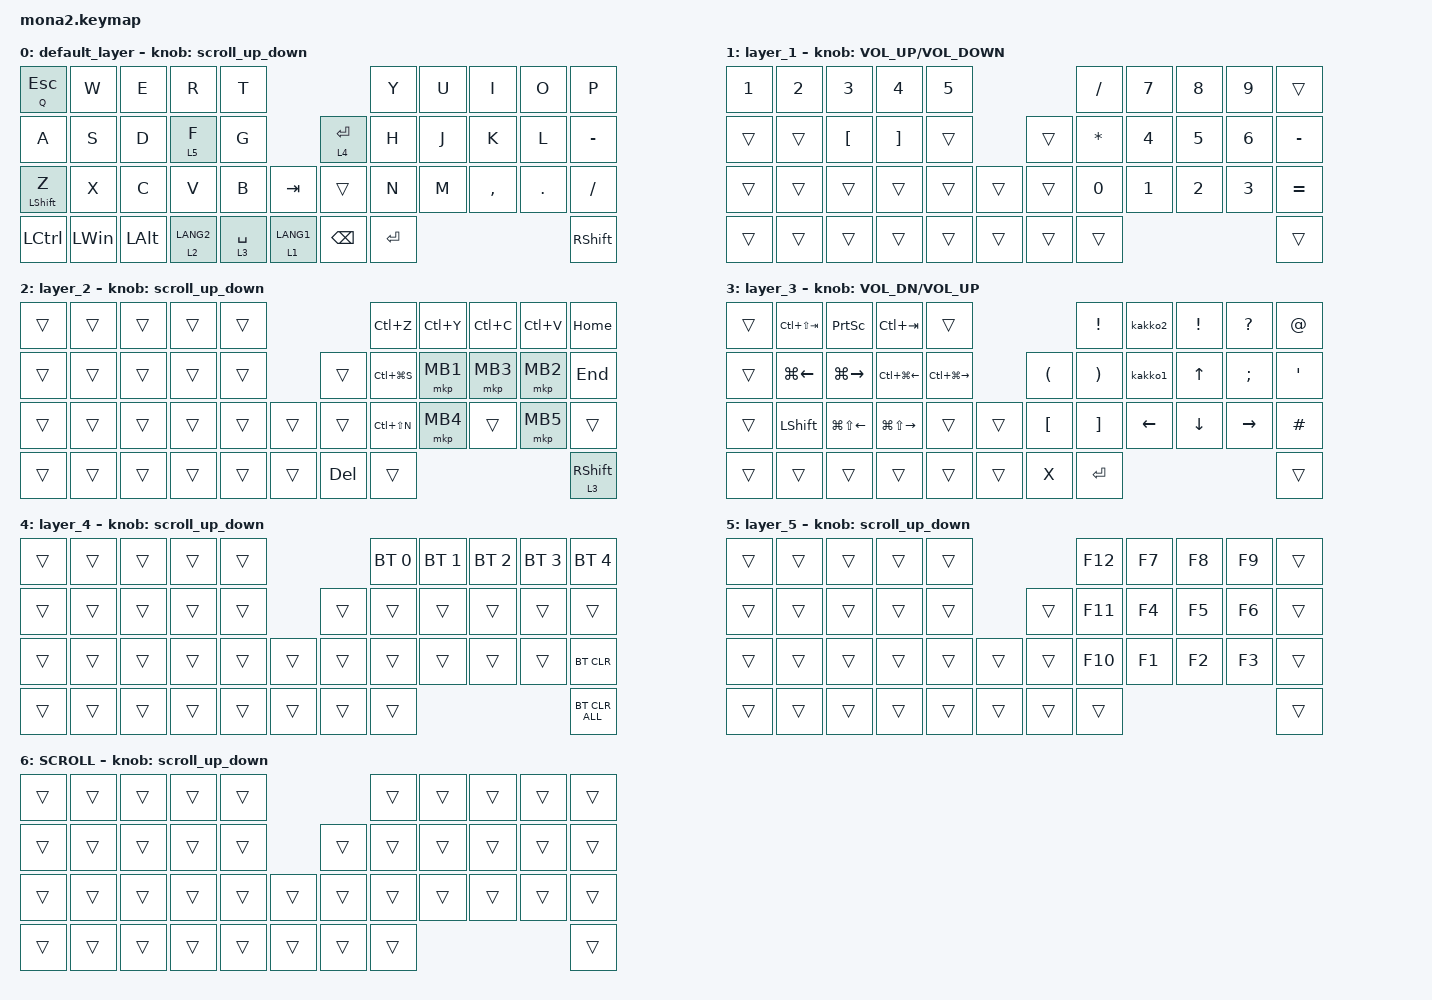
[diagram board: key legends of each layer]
#include <input/processors.dtsi>
#include <dt-bindings/zmk/input_transform.h>
#include <zephyr/dt-bindings/input/input-event-codes.h>
#include <behaviors.dtsi>
#include <dt-bindings/zmk/bt.h>
#include <dt-bindings/zmk/keys.h>
#include <dt-bindings/zmk/pointing.h>

#define ZMK_POINTING_DEFAULT_SCRL_VAL 100
#define MOUSE 5
#define SCROLL 6

&mt {
    flavor = "balanced";
    quick-tap-ms = <0>;
};

&lt {
    quick-tap-ms = <300>;
    flavor = "balanced";
};

/ {
    combos { compatible = "zmk,combos"; };

    macros {
        to_layer_0: to_layer_0 {
            compatible = "zmk,behavior-macro-one-param";
            #binding-cells = <1>;
            bindings = <&to 0 &macro_param_1to1 &kp MACRO_PLACEHOLDER>;
            label = "TO_LAYER_0";
        };

        kakko1: kakko1 {
            compatible = "zmk,behavior-macro";
            #binding-cells = <0>;
            bindings = <&kp LPAR &kp RPAR &kp LEFT>;
            label = "KAKKO1";
        };

        kakko2: kakko2 {
            compatible = "zmk,behavior-macro";
            #binding-cells = <0>;
            bindings = <&kp LBKT &kp RBKT &kp LEFT>;
            label = "KAKKO2";
        };
    };

    behaviors {
        lt_to_layer_0: lt_to_layer_0 {
            compatible = "zmk,behavior-hold-tap";
            label = "LAYER_TAP_TO_0";
            bindings = <&mo>, <&to_layer_0>;

            #binding-cells = <2>;
            tapping-term-ms = <200>;
        };

        scroll_up_down: mouse_wheel_up_down {
            compatible = "zmk,behavior-sensor-rotate";
            #sensor-binding-cells = <0>;
            bindings = <&msc SCRL_DOWN>, <&msc SCRL_UP>;

            tap-ms = <20>;
        };

        scroll_right_left: mouse_wheel_right_left {
            compatible = "zmk,behavior-sensor-rotate";
            #sensor-binding-cells = <0>;
            bindings = <&msc SCRL_LEFT>, <&msc SCRL_RIGHT>;

            tap-ms = <20>;
        };
    };

    keymap {
        compatible = "zmk,keymap";

        default_layer {
            bindings = <
&mt Q ESCAPE      &kp W         &kp E         &kp R        &kp T                                      &kp Y      &kp U  &kp I      &kp O    &kp P
&kp A             &kp S         &kp D         &lt 5 F      &kp G                       &lt 4 ENTER    &kp H      &kp J  &kp K      &kp L    &kp MINUS
&mt LEFT_SHIFT Z  &kp X         &kp C         &kp V        &kp B        &kp TAB        &trans         &kp N      &kp M  &kp COMMA  &kp DOT  &kp SLASH
&kp LCTRL         &kp LEFT_WIN  &kp LEFT_ALT  &lt 2 LANG2  &lt 3 SPACE  &lt 1 LANG1    &kp BACKSPACE  &kp ENTER                             &kp RIGHT_SHIFT
            >;

            sensor-bindings = <&scroll_up_down>;
        };

        layer_1 {
            bindings = <
&kp NUMBER_1  &kp NUMBER_2  &kp NUMBER_3      &kp NUMBER_4       &kp NUMBER_5                    &kp SLASH     &kp NUMBER_7  &kp NUMBER_8  &kp NUMBER_9  &trans
&trans        &trans        &kp LEFT_BRACKET  &kp RIGHT_BRACKET  &trans                  &trans  &kp ASTERISK  &kp NUMBER_4  &kp N5        &kp NUMBER_6  &kp MINUS
&trans        &trans        &trans            &trans             &trans        &trans    &trans  &kp N0        &kp NUMBER_1  &kp NUMBER_2  &kp N3        &kp EQUAL
&trans        &trans        &trans            &trans             &trans        &trans    &trans  &trans                                                  &trans
            >;

            sensor-bindings = <&inc_dec_kp C_VOLUME_UP C_VOLUME_DOWN>;
        };

        layer_2 {
            bindings = <
&trans  &trans  &trans  &trans  &trans                        &kp LC(Z)      &kp LC(Y)  &kp LC(C)  &kp LC(V)  &kp HOME
&trans  &trans  &trans  &trans  &trans            &trans      &kp LC(LG(S))  &mkp MB1   &mkp MB3   &mkp MB2   &kp END
&trans  &trans  &trans  &trans  &trans  &trans    &trans      &kp LC(LS(N))  &mkp MB4   &trans     &mkp MB5   &trans
&trans  &trans  &trans  &trans  &trans  &trans    &kp DELETE  &trans                                          &lt 3 RIGHT_SHIFT
            >;

            sensor-bindings = <&scroll_up_down>;
        };

        layer_3 {
            bindings = <
&trans  &kp LC(LS(TAB))     &kp PRINTSCREEN         &kp LC(TAB)              &trans                                                   &kp EXCLAMATION        &kakko2         &kp EXCLAMATION  &kp QUESTION   &kp AT_SIGN
&trans  &kp LG(LEFT_ARROW)  &kp LG(RIGHT_ARROW)     &kp LC(LG(LEFT_ARROW))   &kp LC(LG(RIGHT_ARROW))            &kp LEFT_PARENTHESIS  &kp RIGHT_PARENTHESIS  &kakko1         &kp UP_ARROW     &kp SEMICOLON  &kp SINGLE_QUOTE
&trans  &kp LEFT_SHIFT      &kp LG(LS(LEFT_ARROW))  &kp LG(LS(RIGHT_ARROW))  &trans                   &trans    &kp LEFT_BRACKET      &kp RIGHT_BRACKET      &kp LEFT_ARROW  &kp DOWN_ARROW   &kp RIGHT      &kp HASH
&trans  &trans              &trans                  &trans                   &trans                   &trans    &kp X                 &kp ENTER                                                              &trans
            >;

            sensor-bindings = <&inc_dec_kp C_VOL_DN C_VOL_UP>;
        };

        layer_4 {
            bindings = <
&trans  &trans  &trans  &trans  &trans                    &bt BT_SEL 0  &bt BT_SEL 1  &bt BT_SEL 2  &bt BT_SEL 3  &bt BT_SEL 4
&trans  &trans  &trans  &trans  &trans            &trans  &trans        &trans        &trans        &trans        &trans
&trans  &trans  &trans  &trans  &trans  &trans    &trans  &trans        &trans        &trans        &trans        &bt BT_CLR
&trans  &trans  &trans  &trans  &trans  &trans    &trans  &trans                                                  &bt BT_CLR_ALL
            >;

            sensor-bindings = <&scroll_up_down>;
        };

        layer_5 {
            bindings = <
&trans  &trans  &trans  &trans  &trans                    &kp F12  &kp F7  &kp F8  &kp F9  &trans
&trans  &trans  &trans  &trans  &trans            &trans  &kp F11  &kp F4  &kp F5  &kp F6  &trans
&trans  &trans  &trans  &trans  &trans  &trans    &trans  &kp F10  &kp F1  &kp F2  &kp F3  &trans
&trans  &trans  &trans  &trans  &trans  &trans    &trans  &trans                           &trans
            >;

            sensor-bindings = <&scroll_up_down>;
        };

        SCROLL {
            bindings = <
&trans  &trans  &trans  &trans  &trans                    &trans  &trans  &trans  &trans  &trans
&trans  &trans  &trans  &trans  &trans            &trans  &trans  &trans  &trans  &trans  &trans
&trans  &trans  &trans  &trans  &trans  &trans    &trans  &trans  &trans  &trans  &trans  &trans
&trans  &trans  &trans  &trans  &trans  &trans    &trans  &trans                          &trans
            >;

            sensor-bindings = <&scroll_up_down>;
        };
    };
};
